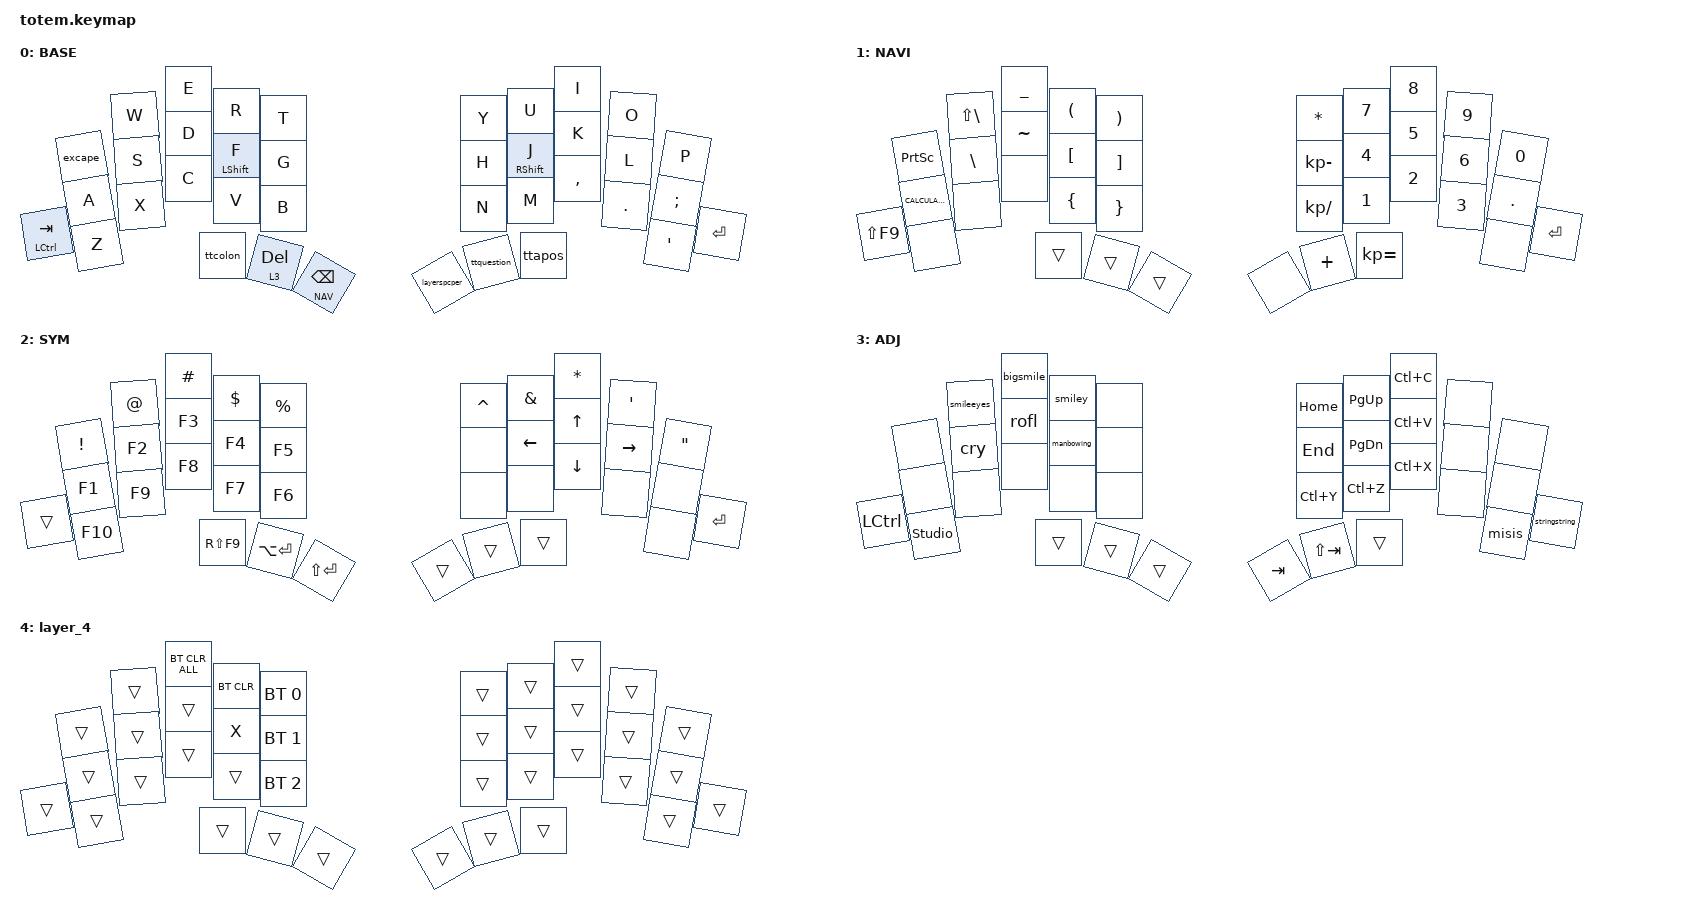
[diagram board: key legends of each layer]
//
//                                                        ▀▀▀▀▀     ▀▀▀▀▀          ▀▀█▀▀
//                                                        ▄▀▀▀▄  ▄  ▄▀▀▀▄  ▄  ▄▀▀▀▄  █  ▄▀▀▀▄
//                                                        █   █  █  █   █  █  █   █  █  █   █
//                                                         ▀▀▀   █   ▀▀▀   █   ▀▀▀   ▀   ▀▀▀
//                                                               █      ▄▄▄█▄▄▄    █   █  
//                                                               ▀      █  █  █     █▄█
//                                                             ▀▀▀▀▀    █  █  █      ▀
//                                                                      ▀  ▀  ▀
//
// ▄▄▄▄▄▄▄▄▄▄▄▄▄▄▄▄▄▄▄▄▄▄▄▄▄▄▄▄▄▄▄▄▄▄▄▄▄▄▄▄▄▄▄▄▄▄▄▄▄▄▄▄▄▄▄▄▄▄▄▄▄▄▄▄▄▄▄▄▄▄▄▄▄▄▄▄▄▄▄▄▄▄▄▄▄▄▄▄▄▄▄▄▄▄▄▄▄▄▄▄▄▄▄▄▄▄▄▄▄▄▄▄▄▄▄▄▄▄▄▄▄▄▄▄▄▄▄▄▄▄▄▄▄▄▄▄▄▄▄▄▄▄▄▄▄▄▄▄▄

#include <behaviors.dtsi>
#include <dt-bindings/zmk/bt.h>
#include <dt-bindings/zmk/keys.h>

#define BASE 0
#define NAV  1
#define SYM  2
#define ADJ  3

&mt {
    quick-tap-ms = <100>;
    global-quick-tap;
    flavor = "tap-preferred";
    tapping-term-ms = <170>;
};

/ {
    combos {
        compatible = "zmk,combos";

        combo_esc {
            timeout-ms = <50>;
            key-positions = <0 1>;
            bindings = <&kp ESC>;
        };

        EnterKey {
            bindings = <&kp ENTER>;
            key-positions = <3 4 5 6>;
        };

        shftenter {
            bindings = <&kp LS(ENTER)>;
            key-positions = <4 5>;
        };

        BLT {
            bindings = <&lt 4 A>;
            key-positions = <0 34>;
        };

        RFRSHV2 {
            bindings = <&kp F5>;
            key-positions = <6 15>;
        };
    };

    behaviors {
        hmrl: hmrl {
            compatible = "zmk,behavior-hold-tap";
            label = "HMRL";
            bindings = <&kp>, <&kp>;

            #binding-cells = <2>;
            tapping-term-ms = <150>;
            hold-while-undecided;
            hold-trigger-key-positions = <0 1 3 4 10 11 12 13 14 20 21 22 23 24 25 32 33 34 2 35 36 37>;
            hold-trigger-on-release;
        };

        hmrr: hmrr {
            compatible = "zmk,behavior-hold-tap";
            label = "HMRR";
            bindings = <&kp>, <&kp>;

            #binding-cells = <2>;
            tapping-term-ms = <150>;
            hold-while-undecided;
            hold-trigger-on-release;
            hold-trigger-key-positions = <32 33 34 5 6 7 8 9 15 16 17 18 19 26 27 28 29 30 31 34 35 36 37>;
        };

        hmrctrL: hmrctrL {
            compatible = "zmk,behavior-hold-tap";
            label = "HMRCTRL";
            bindings = <&kp>, <&kp>;

            #binding-cells = <2>;
            tapping-term-ms = <200>;
            hold-while-undecided;
            hold-trigger-key-positions = <0 1 3 4 10 11 12 13 14 20 21 22 23 24 25 32 33 34 2 35 36 37>;
            hold-trigger-on-release;
        };

        hmrctrR: hmrctrR {
            compatible = "zmk,behavior-hold-tap";
            label = "HMRCTRR";
            bindings = <&kp>, <&kp>;

            #binding-cells = <2>;
            tapping-term-ms = <200>;
            hold-while-undecided;
            hold-trigger-on-release;
            hold-trigger-key-positions = <32 33 34 5 6 7 8 9 15 16 17 18 19 26 27 28 29 30 31 34 35 36 37>;
        };

        ttapos: ttapos {
            compatible = "zmk,behavior-tap-dance";
            label = "TTAPOS";
            #binding-cells = <0>;
            bindings = <&mt RIGHT_GUI SINGLE_QUOTE>, <&kp DOUBLE_QUOTES>;
        };

        ttquestion: ttquestion {
            compatible = "zmk,behavior-tap-dance";
            label = "TTQUESTION";
            #binding-cells = <0>;
            bindings = <&kp QUESTION>, <&kp EXCL>;
        };

        td_space_dot: td_space_dot {
            compatible = "zmk,behavior-tap-dance";
            label = "TD_SPACE_DOT";
            #binding-cells = <0>;
            tapping-term-ms = <200>;
            bindings = <&kp SPACE>, <&kp KP_DOT>;
        };

        lt_space_dot: lt_space_dot {
            compatible = "zmk,behavior-hold-tap";
            label = "LT_SPACE_DOT";
            #binding-cells = <2>;
            flavor = "tap-preferred";
            tapping-term-ms = <200>;
            quick-tap-ms = <150>;
            bindings = <&mo>, <&td_space_dot>;
        };

        ttcolon: ttcolon {
            compatible = "zmk,behavior-tap-dance";
            label = "TTCOLON";
            #binding-cells = <0>;
            bindings = <&mt LEFT_ALT SEMICOLON>, <&kp COLON>;
        };

        excape: excape {
            compatible = "zmk,behavior-tap-dance";
            label = "EXCAPE";
            #binding-cells = <0>;
            bindings = <&kp Q>, <&kp ESCAPE>;
        };

        layerspcper: layerspcper {
            compatible = "zmk,behavior-tap-dance";
            label = "LAYERSPCPER";
            #binding-cells = <0>;
            bindings = <&lt 2 SPACE>, <&kp PERIOD>;
        };
    };

    macros {
        manbowing: manbowing {
            compatible = "zmk,behavior-macro";
            #binding-cells = <0>;
            bindings = <&kp COLON &kp M &kp A &kp N &kp B &kp O &kp W &kp I &kp N &kp G &kp COLON>;
            label = "MANBOWING";
        };

        smiley: smiley {
            compatible = "zmk,behavior-macro";
            #binding-cells = <0>;
            bindings = <&kp COLON &kp RPAR>;
            label = "SMILEY";
        };

        bigsmile: bigsmile {
            compatible = "zmk,behavior-macro";
            #binding-cells = <0>;
            bindings = <&kp COLON &kp LS(D)>;
            label = "BIGSMILE";
        };

        rofl: rofl {
            compatible = "zmk,behavior-macro";
            #binding-cells = <0>;
            bindings = <&kp COLON &kp R &kp O &kp F &kp L &kp COLON>;
            label = "ROFL";
        };

        smileeyes: smileeyes {
            compatible = "zmk,behavior-macro";
            #binding-cells = <0>;
            bindings = <&kp COLON &kp S &kp M &kp I &kp L &kp E &kp E &kp Y &kp E &kp S &kp COLON>;
            label = "SMILEEYES";
        };

        stringstring: stringstring {
            compatible = "zmk,behavior-macro";
            #binding-cells = <0>;
            bindings = <&kp LS(I) &kp O &kp A &kp N &kp N3 &kp N2 &kp N3 &kp N1 &kp N5>;
            label = "STRINGSTRING";
            wait-ms = <20>;
            tap-ms = <15>;
        };

        cry: cry {
            compatible = "zmk,behavior-macro";
            #binding-cells = <0>;
            bindings = <&kp COLON &kp C &kp R &kp Y &kp COLON>;
            label = "CRY";
        };

        misis: misis {
            compatible = "zmk,behavior-macro";
            #binding-cells = <0>;
            bindings = <&none &kp LS(J) &kp A &kp P &kp A &kp N &kp N &kp O &kp V &kp E &kp M &kp B &kp E &kp R &kp N2 &kp N0 &kp N2 &kp N6 &kp STAR &kp ENTER>;
            label = "MISIS";
            wait-ms = <20>;
            tap-ms = <15>;
        };
    };

    keymap {
        compatible = "zmk,keymap";

        // ▄▄▄▄▄▄▄▄▄▄▄▄▄▄▄▄▄▄▄▄▄▄▄▄▄▄▄▄▄▄▄▄▄▄▄▄▄▄▄▄▄▄▄▄▄▄▄▄▄▄▄▄▄▄▄▄▄▄▄▄▄▄▄▄▄▄▄▄▄▄▄▄▄▄▄▄▄▄▄▄▄▄▄▄▄▄▄▄▄▄▄▄▄▄▄▄▄▄▄▄▄▄▄▄▄▄▄▄▄▄▄▄▄▄▄▄▄▄▄▄▄▄▄▄▄▄▄▄▄▄▄▄▄▄▄▄▄▄▄▄▄▄▄▄▄▄▄▄▄

        base_layer {
            // ┏━━━━━━━━━━━━━━━━━━━━━━━━━━━━━━━━━━━━━━━┓

            label = "BASE";

            // ┗━━━━━━━━━━━━━━━━━━━━━━━━━━━━━━━━━━━━━━━┛
            //             ┏━━━━━━━━━━━┳━━━━━━━━━━━┳━━━━━━━━━━━┳━━━━━━━━━━━┳━━━━━━━━━━━┓   ┏━━━━━━━━━━━┳━━━━━━━━━━━┳━━━━━━━━━━━┳━━━━━━━━━━━┳━━━━━━━━━━━┓
            //             ┃     Q     ┃     W     ┃     F     ┃     P     ┃     G     ┃   ┃     J     ┃     L     ┃     U     ┃     Y     ┃     ;     ┃
            //             ┣━━━━━━━━━━━╋━━━━━━━━━━━╋━━━━━━━━━━━╋━━━━━━━━━━━╋━━━━━━━━━━━┫   ┣━━━━━━━━━━━╋━━━━━━━━━━━╋━━━━━━━━━━━╋━━━━━━━━━━━╋━━━━━━━━━━━┫
            //             ┃     A     ┃     R     ┃     S     ┃     T     ┃     D     ┃   ┃     H     ┃     N     ┃     E     ┃     I     ┃     O     ┃
            // ┏━━━━━━━━━━━╋━━━━━━━━━━━╋━━━━━━━━━━━╋━━━━━━━━━━━╋━━━━━━━━━━━╋━━━━━━━━━━━┫   ┣━━━━━━━━━━━╋━━━━━━━━━━━╋━━━━━━━━━━━╋━━━━━━━━━━━╋━━━━━━━━━━━╋━━━━━━━━━━━┓
            // ┃           ┃     Z     ┃     X     ┃     C     ┃     V     ┃     B     ┃   ┃     K     ┃     M     ┃     ,     ┃     .     ┃     /     ┃           ┃
            // ┗━━━━━━━━━━━┻━━━━━━━━━━━┻━━━━━━━━━━━╋━━━━━━━━━━━╋━━━━━━━━━━━╋━━━━━━━━━━━┫   ┣━━━━━━━━━━━╋━━━━━━━━━━━╋━━━━━━━━━━━╋━━━━━━━━━━━┻━━━━━━━━━━━┻━━━━━━━━━━━┛
            //                                     ┃           ┃    TAB    ┃    SPC    ┃   ┃   ENTER   ┃   BSPC    ┃           ┃
            //                                     ┗━━━━━━━━━━━┻━━━━━━━━━━━┻━━━━━━━━━━━┛   ┗━━━━━━━━━━━┻━━━━━━━━━━━┻━━━━━━━━━━━┛

            bindings = <
                    &excape  &kp W  &kp E     &kp R               &kp T                &kp Y         &kp U                &kp I      &kp O    &kp P
                    &kp A    &kp S  &kp D     &hmrl LEFT_SHIFT F  &kp G                &kp H         &hmrr RIGHT_SHIFT J  &kp K      &kp L    &kp SEMI
&hmrctrL LCTRL TAB  &kp Z    &kp X  &kp C     &kp V               &kp B                &kp N         &kp M                &kp COMMA  &kp DOT  &kp SINGLE_QUOTE  &kp ENTER
                                    &ttcolon  &lt 3 DELETE        &lt NAV BACKSPACE    &layerspcper  &ttquestion          &ttapos
            >;
        };

        // ▄▄▄▄▄▄▄▄▄▄▄▄▄▄▄▄▄▄▄▄▄▄▄▄▄▄▄▄▄▄▄▄▄▄▄▄▄▄▄▄▄▄▄▄▄▄▄▄▄▄▄▄▄▄▄▄▄▄▄▄▄▄▄▄▄▄▄▄▄▄▄▄▄▄▄▄▄▄▄▄▄▄▄▄▄▄▄▄▄▄▄▄▄▄▄▄▄▄▄▄▄▄▄▄▄▄▄▄▄▄▄▄▄▄▄▄▄▄▄▄▄▄▄▄▄▄▄▄▄▄▄▄▄▄▄▄▄▄▄▄▄▄▄▄▄▄▄▄▄

        nav_layer {
            // ┏━━━━━━━━━━━━━━━━━━━━━━━━━━━━━━━━━━━━━━━┓

            label = "NAVI";

            // ┗━━━━━━━━━━━━━━━━━━━━━━━━━━━━━━━━━━━━━━━┛
            //             ┏━━━━━━━━━━━┳━━━━━━━━━━━┳━━━━━━━━━━━┳━━━━━━━━━━━┳━━━━━━━━━━━┓   ┏━━━━━━━━━━━┳━━━━━━━━━━━┳━━━━━━━━━━━┳━━━━━━━━━━━┳━━━━━━━━━━━┓
            //             ┃           ┃           ┃     UP    ┃           ┃     {     ┃   ┃     }     ┃     7     ┃     8     ┃     9     ┃     +     ┃
            //             ┣━━━━━━━━━━━╋━━━━━━━━━━━╋━━━━━━━━━━━╋━━━━━━━━━━━╋━━━━━━━━━━━┫   ┣━━━━━━━━━━━╋━━━━━━━━━━━╋━━━━━━━━━━━╋━━━━━━━━━━━╋━━━━━━━━━━━┫
            //             ┃   SHIFT   ┃   LEFT    ┃    DOWN   ┃   RIGHT   ┃     [     ┃   ┃     ]     ┃     4     ┃     5     ┃     6     ┃     -     ┃
            // ┏━━━━━━━━━━━╋━━━━━━━━━━━╋━━━━━━━━━━━╋━━━━━━━━━━━╋━━━━━━━━━━━╋━━━━━━━━━━━┫   ┣━━━━━━━━━━━╋━━━━━━━━━━━╋━━━━━━━━━━━╋━━━━━━━━━━━╋━━━━━━━━━━━╋━━━━━━━━━━━┓
            // ┃           ┃           ┃   P UP    ┃  C LOCK   ┃  P DOWN   ┃     (     ┃   ┃     )     ┃     1     ┃     2     ┃     3     ┃     *     ┃           ┃
            // ┗━━━━━━━━━━━┻━━━━━━━━━━━┻━━━━━━━━━━━╋━━━━━━━━━━━╋━━━━━━━━━━━╋━━━━━━━━━━━┫   ┣━━━━━━━━━━━╋━━━━━━━━━━━╋━━━━━━━━━━━╋━━━━━━━━━━━┻━━━━━━━━━━━┻━━━━━━━━━━━┛
            //                                     ┃           ┃    TAB    ┃    SPC    ┃   ┃    DEL    ┃     0     ┃           ┃
            //                                     ┗━━━━━━━━━━━┻━━━━━━━━━━━┻━━━━━━━━━━━┛   ┗━━━━━━━━━━━┻━━━━━━━━━━━┻━━━━━━━━━━━┛

            bindings = <
            &kp PRINTSCREEN   &kp LS(BACKSLASH)  &kp UNDERSCORE  &kp LEFT_PARENTHESIS  &kp RIGHT_PARENTHESIS    &kp ASTERISK     &kp N7    &kp N8        &kp N9  &kp N0
            &kp K_CALCULATOR  &kp BACKSLASH      &kp TILDE       &kp LEFT_BRACKET      &kp RIGHT_BRACKET        &kp KP_SUBTRACT  &kp N4    &kp N5        &kp N6  &kp PERIOD
&kp LS(F9)  &none             &none              &none           &kp LEFT_BRACE        &kp RIGHT_BRACE          &kp KP_DIVIDE    &kp N1    &kp N2        &kp N3  &none       &kp ENTER
                                                 &trans          &trans                &trans                   &none            &kp PLUS  &kp KP_EQUAL
            >;
        };

        // ▄▄▄▄▄▄▄▄▄▄▄▄▄▄▄▄▄▄▄▄▄▄▄▄▄▄▄▄▄▄▄▄▄▄▄▄▄▄▄▄▄▄▄▄▄▄▄▄▄▄▄▄▄▄▄▄▄▄▄▄▄▄▄▄▄▄▄▄▄▄▄▄▄▄▄▄▄▄▄▄▄▄▄▄▄▄▄▄▄▄▄▄▄▄▄▄▄▄▄▄▄▄▄▄▄▄▄▄▄▄▄▄▄▄▄▄▄▄▄▄▄▄▄▄▄▄▄▄▄▄▄▄▄▄▄▄▄▄▄▄▄▄▄▄▄▄▄▄▄

        sim_layer {
            // ┏━━━━━━━━━━━━━━━━━━━━━━━━━━━━━━━━━━━━━━━┓

            label = "SYM";

            // ┗━━━━━━━━━━━━━━━━━━━━━━━━━━━━━━━━━━━━━━━┛
            //             ┏━━━━━━━━━━━┳━━━━━━━━━━━┳━━━━━━━━━━━┳━━━━━━━━━━━┳━━━━━━━━━━━┓   ┏━━━━━━━━━━━┳━━━━━━━━━━━┳━━━━━━━━━━━┳━━━━━━━━━━━┳━━━━━━━━━━━┓
            //             ┃     !     ┃     @     ┃     #     ┃     $     ┃     %     ┃   ┃     ˆ     ┃     &     ┃     Ü     ┃     '     ┃     "     ┃
            //             ┣━━━━━━━━━━━╋━━━━━━━━━━━╋━━━━━━━━━━━╋━━━━━━━━━━━╋━━━━━━━━━━━┫   ┣━━━━━━━━━━━╋━━━━━━━━━━━╋━━━━━━━━━━━╋━━━━━━━━━━━╋━━━━━━━━━━━┫
            //             ┃     Ä     ┃           ┃    SZ     ┃           ┃           ┃   ┃   MUTE    ┃   YEN     ┃   EURO    ┃  POUND    ┃     Ö     ┃
            // ┏━━━━━━━━━━━╋━━━━━━━━━━━╋━━━━━━━━━━━╋━━━━━━━━━━━╋━━━━━━━━━━━╋━━━━━━━━━━━┫   ┣━━━━━━━━━━━╋━━━━━━━━━━━╋━━━━━━━━━━━╋━━━━━━━━━━━╋━━━━━━━━━━━╋━━━━━━━━━━━┓
            // ┃           ┃  EMAIL1   ┃  EMAIL2   ┃           ┃           ┃           ┃   ┃   VOL-    ┃   VOL+    ┃   LAST    ┃   NEXT    ┃     \     ┃           ┃
            // ┗━━━━━━━━━━━┻━━━━━━━━━━━┻━━━━━━━━━━━╋━━━━━━━━━━━╋━━━━━━━━━━━╋━━━━━━━━━━━┫   ┣━━━━━━━━━━━╋━━━━━━━━━━━╋━━━━━━━━━━━╋━━━━━━━━━━━┻━━━━━━━━━━━┻━━━━━━━━━━━┛
            //                                     ┃           ┃    GIF    ┃    ADJ    ┃   ┃           ┃           ┃           ┃
            //                                     ┗━━━━━━━━━━━┻━━━━━━━━━━━┻━━━━━━━━━━━┛   ┗━━━━━━━━━━━┻━━━━━━━━━━━┻━━━━━━━━━━━┛

            bindings = <
        &kp EXCL  &kp AT  &kp HASH    &kp DLLR       &kp PRCNT        &kp CARET  &kp AMPS  &kp ASTERISK  &kp SQT    &kp DQT
        &kp F1    &kp F2  &kp F3      &kp F4         &kp F5           &none      &kp LEFT  &kp UP_ARROW  &kp RIGHT  &none
&trans  &kp F10   &kp F9  &kp F8      &kp F7         &kp F6           &none      &none     &kp DOWN      &none      &none    &kp ENTER
                          &kp RS(F9)  &kp LA(ENTER)  &kp LS(ENTER)    &trans     &trans    &trans
            >;
        };

        // ▄▄▄▄▄▄▄▄▄▄▄▄▄▄▄▄▄▄▄▄▄▄▄▄▄▄▄▄▄▄▄▄▄▄▄▄▄▄▄▄▄▄▄▄▄▄▄▄▄▄▄▄▄▄▄▄▄▄▄▄▄▄▄▄▄▄▄▄▄▄▄▄▄▄▄▄▄▄▄▄▄▄▄▄▄▄▄▄▄▄▄▄▄▄▄▄▄▄▄▄▄▄▄▄▄▄▄▄▄▄▄▄▄▄▄▄▄▄▄▄▄▄▄▄▄▄▄▄▄▄▄▄▄▄▄▄▄▄▄▄▄▄▄▄▄▄▄▄▄

        adjust_layer {
            // ┏━━━━━━━━━━━━━━━━━━━━━━━━━━━━━━━━━━━━━━━┓

            label = "ADJ";

            // ┗━━━━━━━━━━━━━━━━━━━━━━━━━━━━━━━━━━━━━━━┛
            //             ┏━━━━━━━━━━━┳━━━━━━━━━━━┳━━━━━━━━━━━┳━━━━━━━━━━━┳━━━━━━━━━━━┓   ┏━━━━━━━━━━━┳━━━━━━━━━━━┳━━━━━━━━━━━┳━━━━━━━━━━━┳━━━━━━━━━━━┓
            //             ┃   RESET   ┃ BT CLEAR  ┃  OUT TOG  ┃           ┃           ┃   ┃           ┃    F7     ┃    F8     ┃    F9     ┃    F12    ┃
            //             ┣━━━━━━━━━━━╋━━━━━━━━━━━╋━━━━━━━━━━━╋━━━━━━━━━━━╋━━━━━━━━━━━┫   ┣━━━━━━━━━━━╋━━━━━━━━━━━╋━━━━━━━━━━━╋━━━━━━━━━━━╋━━━━━━━━━━━┫
            //             ┃ BOOTLOAD  ┃ BT NEXT   ┃           ┃           ┃           ┃   ┃           ┃    F4     ┃    F5     ┃    F6     ┃    F11    ┃
            // ┏━━━━━━━━━━━╋━━━━━━━━━━━╋━━━━━━━━━━━╋━━━━━━━━━━━╋━━━━━━━━━━━╋━━━━━━━━━━━┫   ┣━━━━━━━━━━━╋━━━━━━━━━━━╋━━━━━━━━━━━╋━━━━━━━━━━━╋━━━━━━━━━━━╋━━━━━━━━━━━┓
            // ┃           ┃           ┃ BT PREV   ┃           ┃           ┃           ┃   ┃           ┃    F1     ┃    F2     ┃    F3     ┃    F10    ┃           ┃
            // ┗━━━━━━━━━━━┻━━━━━━━━━━━┻━━━━━━━━━━━╋━━━━━━━━━━━╋━━━━━━━━━━━╋━━━━━━━━━━━┫   ┣━━━━━━━━━━━╋━━━━━━━━━━━╋━━━━━━━━━━━╋━━━━━━━━━━━┻━━━━━━━━━━━┻━━━━━━━━━━━┛
            //                                     ┃           ┃           ┃           ┃   ┃           ┃           ┃           ┃
            //                                     ┗━━━━━━━━━━━┻━━━━━━━━━━━┻━━━━━━━━━━━┛   ┗━━━━━━━━━━━┻━━━━━━━━━━━┻━━━━━━━━━━━┛

            bindings = <
           &none           &smileeyes  &bigsmile  &smiley     &none     &kp HOME   &kp PAGE_UP    &kp LC(C)  &none  &none
           &none           &cry        &rofl      &manbowing  &none     &kp END    &kp PAGE_DOWN  &kp LC(V)  &none  &none
&kp LCTRL  &studio_unlock  &none       &none      &none       &none     &kp LC(Y)  &kp LC(Z)      &kp LC(X)  &none  &misis  &stringstring
                                       &trans     &trans      &trans    &kp TAB    &kp LS(TAB)    &trans
            >;
        };

        layer_4 {
            bindings = <
        &trans  &trans  &bt BT_CLR_ALL  &bt BT_CLR  &bt BT_SEL 0    &trans  &trans  &trans  &trans  &trans
        &trans  &trans  &trans          &kp X       &bt BT_SEL 1    &trans  &trans  &trans  &trans  &trans
&trans  &trans  &trans  &trans          &trans      &bt BT_SEL 2    &trans  &trans  &trans  &trans  &trans  &trans
                        &trans          &trans      &trans          &trans  &trans  &trans
            >;
        };
    };
};
